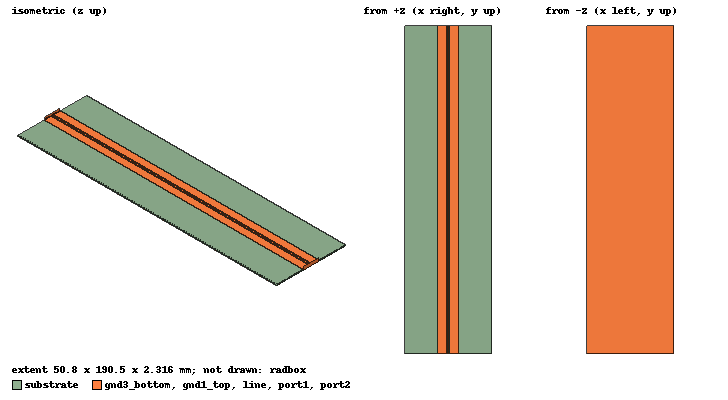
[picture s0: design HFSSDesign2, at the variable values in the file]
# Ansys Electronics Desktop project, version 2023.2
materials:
  vacuum: permittivity=1
  FR4_epoxy: permittivity=4.4 dielectric_loss_tangent=0.02
  air: permittivity=1.0006 permeability=1.0000004
  rhodium: conductivity=22200000
  Rogers RO4350 (tm): permittivity=3.66 dielectric_loss_tangent=0.004
  copper: permeability=0.999991 conductivity=58000000

design HFSSDesign2 (HFSS, HFSS Modal Network, model units mm)
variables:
  w = 50.8mm
  l = 190.5mm
  h_sub = 0.508mm
  h_gnd3 = 0.03556mm
  w_lin = 1.04mm
  h_sig = 0.03556mm
  w_gnd_top = 5mm
  h_ges = h_gnd3+h_sig+h_sub
  pos_gnd1 = 21.98mm-w_gnd_top/2
  pos_lin = w/2-w_lin/2
  pos_gnd2 = 28.82mm-w_gnd_top/2
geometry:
  radbox [air] = box(corner=(-15mm, 0mm, -15mm), size=(w+30mm, l, h_ges+30mm))
  gnd3_bottom [copper] = box(corner=(0mm, 0mm, 0mm), size=(w, l, h_gnd3))
  substrate [Rogers RO4350 (tm)] = box(corner=(0mm, 0mm, h_gnd3), size=(w, l, h_sub))
  line [copper] = box(corner=(pos_lin, 0mm, h_gnd3+h_sub), size=(w_lin, l, h_sig))
  gnd1_top [copper] = box(corner=(pos_gnd1, 0mm, h_gnd3+h_sub), size=(w_gnd_top, l, h_sig))
  gnd2_top = box(corner=(pos_gnd2, 0mm, h_gnd3+h_sub), size=(w_gnd_top, l, h_sig))
  port1 = rectangle(corner=(w/2-w_lin*5, 0mm, 0mm), z_size=h_ges*4, x_size=w_lin*10)
  port2 = rectangle(corner=(w/2-w_lin*5, l, 0mm), z_size=h_ges*4, x_size=w_lin*10)
  gnd1_top.unite(gnd2_top)
  via1 [copper] = cylinder(axis=Z, base_centre=(w/2-2*w_lin, 2mm, h_gnd3), radius=0.2mm, height=h_sub)
  via1_1..via1_78 [copper] = via1.duplicate_along_line(step=(0mm, 2.4mm, 0mm), total=300)  # copies kept: 1..78
  via2 [copper] = cylinder(axis=Z, base_centre=(w/2+2*w_lin, 2mm, h_gnd3), radius=0.2mm, height=h_sub)
  via2_1..via2_78 [copper] = via2.duplicate_along_line(step=(0mm, 2.4mm, 0mm), total=79)
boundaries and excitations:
  Rad1: Radiation Objects=radbox
  1: Wave Port Objects=port1 WavePortType=Modal NumModes=1 Modes{Mode1{CharImp=Zpi RenormImp=50ohm}}
  2: Wave Port Objects=port2 WavePortType=Modal NumModes=1 Modes{Mode1{CharImp=Zpi RenormImp=50ohm}}
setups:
  Setup1: HfssDriven Frequency=10GHz MaxDeltaS=0.02 MaximumPasses=20 MinimumPasses=1 MinimumConvergedPasses=1 PercentRefinement=30 BasisOrder=1 PortAccuracy=2 DrivenSolverType="Direct Solver"
    sweep Sweep: 1GHz to 20GHz step 0.1GHz; Type=Discrete SaveFields
    sweep Sweep_fine: 0.01GHz to 20GHz step 0.01GHz; Type=Discrete
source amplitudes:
  1:1: 1W 0deg
  2:1: 0W 0deg
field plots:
  Mag_E1: E Field in substrate on Setup1 : LastAdaptive at Freq=10GHz Phase=0deg
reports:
  S Parameter Plot 1: dB(S(1,1)), dB(S(2,1)), dB(S(1,2)), dB(S(2,2)) vs Freq on Setup1 : Sweep; markers m1 at 15.5GHz
  Port Zo Plot 1: mag(Zo(1)), mag(Zo(2)) vs Freq on Setup1 : Sweep
  S Parameter_sweep_fine: dB(S(1,1)), dB(S(2,1)), dB(S(1,2)), dB(S(2,2)) vs Freq on Setup1 : Sweep_fine; markers m1 at 19.65GHz, m2 at 19.65GHz, m3 at 13.59GHz
